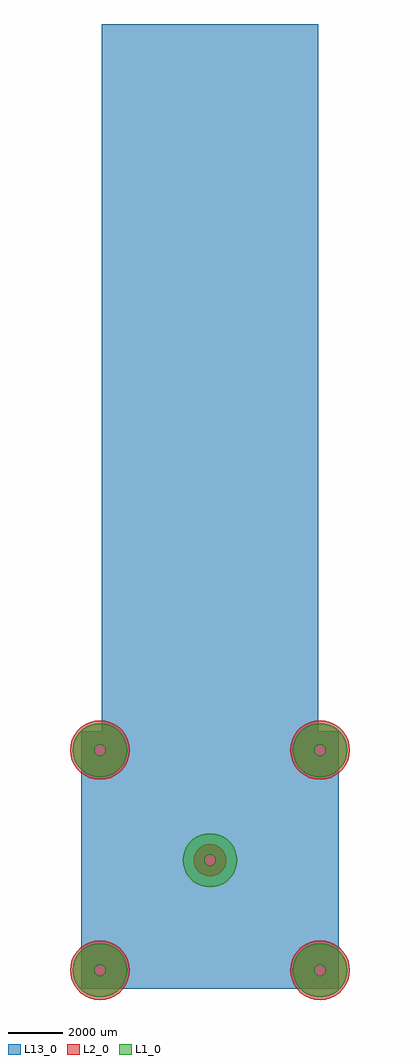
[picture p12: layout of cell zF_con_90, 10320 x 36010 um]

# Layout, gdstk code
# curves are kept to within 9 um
import gdstk
lib = gdstk.Library(unit=1e-6, precision=1e-09)
def P(c, l, *ps):  # polygons
    for p in ps: c.add(gdstk.Polygon(p, *l))
L1_0 = (1, 0)
L2_0 = (2, 0)
L13_0 = (13, 0)

zf_con_90 = lib.new_cell('zF_con_90')
P(zf_con_90, L1_0, [(-4190,-4210),(-4250,-4130),(-4260,-4030),(-4210,-3930),(-4130,-3870),(-4090,-3860),(-3990,-3870),(-3910,-3930),(-3860,-4030),(-3870,-4130),(-3910,-4190),(-3990,-4250),(-4060,-4260),(-4060,-5060),(-3890,-5040),(-3720,-5000),(-3560,-4930),(-3420,-4830),(-3290,-4700),(-3190,-4560),(-3120,-4400),(-3080,-4230),(-3060,-4060),(-3080,-3890),(-3120,-3720),(-3190,-3560),(-3290,-3420),(-3420,-3290),(-3560,-3190),(-3720,-3120),(-3890,-3080),(-4060,-3060),(-4230,-3080),(-4400,-3120),(-4560,-3190),(-4700,-3290),(-4830,-3420),(-4930,-3560),(-5000,-3720),(-5040,-3890),(-5060,-4060),(-5040,-4230),(-5000,-4400),(-4930,-4560),(-4830,-4700),(-4700,-4830),(-4560,-4930),(-4400,-5000),(-4230,-5040),(-4060,-5060),(-4060,-4260),(-4130,-4250)],
  [(-130,-150),(-190,-70),(-200,30),(-150,130),(-70,190),(-30,200),(70,190),(150,130),(200,30),(190,-70),(150,-130),(70,-190),(0,-200),(0,-1000),(170,-980),(340,-940),(500,-870),(640,-770),(770,-640),(870,-500),(940,-340),(980,-170),(1000,0),(980,170),(940,340),(870,500),(770,640),(640,770),(500,870),(340,940),(170,980),(0,1000),(-170,980),(-340,940),(-500,870),(-640,770),(-770,640),(-870,500),(-940,340),(-980,170),(-1000,0),(-980,-170),(-940,-340),(-870,-500),(-770,-640),(-640,-770),(-500,-870),(-340,-940),(-170,-980),(0,-1000),(0,-200),(-70,-190)],
  [(3930,-4210),(3870,-4130),(3860,-4030),(3910,-3930),(3990,-3870),(4030,-3860),(4130,-3870),(4210,-3930),(4260,-4030),(4250,-4130),(4210,-4190),(4130,-4250),(4060,-4260),(4060,-5060),(4230,-5040),(4400,-5000),(4560,-4930),(4700,-4830),(4830,-4700),(4930,-4560),(5000,-4400),(5040,-4230),(5060,-4060),(5040,-3890),(5000,-3720),(4930,-3560),(4830,-3420),(4700,-3290),(4560,-3190),(4400,-3120),(4230,-3080),(4060,-3060),(3890,-3080),(3720,-3120),(3560,-3190),(3420,-3290),(3290,-3420),(3190,-3560),(3120,-3720),(3080,-3890),(3060,-4060),(3080,-4230),(3120,-4400),(3190,-4560),(3290,-4700),(3420,-4830),(3560,-4930),(3720,-5000),(3890,-5040),(4060,-5060),(4060,-4260),(3990,-4250)],
  [(-4190,3910),(-4250,3990),(-4260,4090),(-4210,4190),(-4130,4250),(-4090,4260),(-3990,4250),(-3910,4190),(-3860,4090),(-3870,3990),(-3910,3930),(-3990,3870),(-4060,3860),(-4060,3060),(-3890,3080),(-3720,3120),(-3560,3190),(-3420,3290),(-3290,3420),(-3190,3560),(-3120,3720),(-3080,3890),(-3060,4060),(-3080,4230),(-3120,4400),(-3190,4560),(-3290,4700),(-3420,4830),(-3560,4930),(-3720,5000),(-3890,5040),(-4060,5060),(-4230,5040),(-4400,5000),(-4560,4930),(-4700,4830),(-4830,4700),(-4930,4560),(-5000,4400),(-5040,4230),(-5060,4060),(-5040,3890),(-5000,3720),(-4930,3560),(-4830,3420),(-4700,3290),(-4560,3190),(-4400,3120),(-4230,3080),(-4060,3060),(-4060,3860),(-4130,3870)],
  [(3930,3910),(3870,3990),(3860,4090),(3910,4190),(3990,4250),(4030,4260),(4130,4250),(4210,4190),(4260,4090),(4250,3990),(4210,3930),(4130,3870),(4060,3860),(4060,3060),(4230,3080),(4400,3120),(4560,3190),(4700,3290),(4830,3420),(4930,3560),(5000,3720),(5040,3890),(5060,4060),(5040,4230),(5000,4400),(4930,4560),(4830,4700),(4700,4830),(4560,4930),(4400,5000),(4230,5040),(4060,5060),(3890,5040),(3720,5000),(3560,4930),(3420,4830),(3290,4700),(3190,4560),(3120,4400),(3080,4230),(3060,4060),(3080,3890),(3120,3720),(3190,3560),(3290,3420),(3420,3290),(3560,3190),(3720,3120),(3890,3080),(4060,3060),(4060,3860),(3990,3870)])
P(zf_con_90, L2_0, [(-2960,-4060),(-2976.711,-4251.013),(-3026.338,-4436.222),(-3107.372,-4610),(-3217.351,-4767.066),(-3352.934,-4902.649),(-3510,-5012.628),(-3683.778,-5093.662),(-3868.987,-5143.289),(-4060,-5160),(-4251.013,-5143.289),(-4436.222,-5093.662),(-4610,-5012.628),(-4767.066,-4902.649),(-4902.649,-4767.066),(-5012.628,-4610),(-5093.662,-4436.222),(-5143.289,-4251.013),(-5160,-4060),(-5143.289,-3868.987),(-5093.662,-3683.778),(-5012.628,-3510),(-4902.649,-3352.934),(-4767.066,-3217.351),(-4610,-3107.372),(-4436.222,-3026.338),(-4251.013,-2976.711),(-4060,-2960),(-3868.987,-2976.711),(-3683.778,-3026.338),(-3510,-3107.372),(-3352.934,-3217.351),(-3217.351,-3352.934),(-3107.372,-3510),(-3026.338,-3683.778),(-2976.711,-3868.987)],
  [(5160,-4060),(5143.289,-4251.013),(5093.662,-4436.222),(5012.628,-4610),(4902.649,-4767.066),(4767.066,-4902.649),(4610,-5012.628),(4436.222,-5093.662),(4251.013,-5143.289),(4060,-5160),(3868.987,-5143.289),(3683.778,-5093.662),(3510,-5012.628),(3352.934,-4902.649),(3217.351,-4767.066),(3107.372,-4610),(3026.338,-4436.222),(2976.711,-4251.013),(2960,-4060),(2976.711,-3868.987),(3026.338,-3683.778),(3107.372,-3510),(3217.351,-3352.934),(3352.934,-3217.351),(3510,-3107.372),(3683.778,-3026.338),(3868.987,-2976.711),(4060,-2960),(4251.013,-2976.711),(4436.222,-3026.338),(4610,-3107.372),(4767.066,-3217.351),(4902.649,-3352.934),(5012.628,-3510),(5093.662,-3683.778),(5143.289,-3868.987)],
  [(-2960,4060),(-2976.711,3868.987),(-3026.338,3683.778),(-3107.372,3510),(-3217.351,3352.934),(-3352.934,3217.351),(-3510,3107.372),(-3683.778,3026.338),(-3868.987,2976.711),(-4060,2960),(-4251.013,2976.711),(-4436.222,3026.338),(-4610,3107.372),(-4767.066,3217.351),(-4902.649,3352.934),(-5012.628,3510),(-5093.662,3683.778),(-5143.289,3868.987),(-5160,4060),(-5143.289,4251.013),(-5093.662,4436.222),(-5012.628,4610),(-4902.649,4767.066),(-4767.066,4902.649),(-4610,5012.628),(-4436.222,5093.662),(-4251.013,5143.289),(-4060,5160),(-3868.987,5143.289),(-3683.778,5093.662),(-3510,5012.628),(-3352.934,4902.649),(-3217.351,4767.066),(-3107.372,4610),(-3026.338,4436.222),(-2976.711,4251.013)],
  [(5160,4060),(5143.289,3868.987),(5093.662,3683.778),(5012.628,3510),(4902.649,3352.934),(4767.066,3217.351),(4610,3107.372),(4436.222,3026.338),(4251.013,2976.711),(4060,2960),(3868.987,2976.711),(3683.778,3026.338),(3510,3107.372),(3352.934,3217.351),(3217.351,3352.934),(3107.372,3510),(3026.338,3683.778),(2976.711,3868.987),(2960,4060),(2976.711,4251.013),(3026.338,4436.222),(3107.372,4610),(3217.351,4767.066),(3352.934,4902.649),(3510,5012.628),(3683.778,5093.662),(3868.987,5143.289),(4060,5160),(4251.013,5143.289),(4436.222,5093.662),(4610,5012.628),(4767.066,4902.649),(4902.649,4767.066),(5012.628,4610),(5093.662,4436.222),(5143.289,4251.013)],
  [(600,0),(590.885,-104.189),(563.816,-205.212),(519.615,-300),(459.627,-385.673),(385.673,-459.627),(300,-519.615),(205.212,-563.816),(104.189,-590.885),(0,-600),(-104.189,-590.885),(-205.212,-563.816),(-300,-519.615),(-385.673,-459.627),(-459.627,-385.673),(-519.615,-300),(-563.816,-205.212),(-590.885,-104.189),(-600,0),(-590.885,104.189),(-563.816,205.212),(-519.615,300),(-459.627,385.673),(-385.673,459.627),(-300,519.615),(-205.212,563.816),(-104.189,590.885),(0,600),(104.189,590.885),(205.212,563.816),(300,519.615),(385.673,459.627),(459.627,385.673),(519.615,300),(563.816,205.212),(590.885,104.189)])
P(zf_con_90, L13_0, [(4750,4750),(4000,4750),(4000,30850),(-4000,30850),(-4000,4750),(-4750,4750),(-4750,-4750),(4750,-4750)])
zf_con_90.add(gdstk.FlexPath([(1000,-200),(-1000,-200)], 0, ends="round", simple_path=True, layer=13, datatype=0))  # L13_0

lib.write_gds('zF_con_90.gds')
